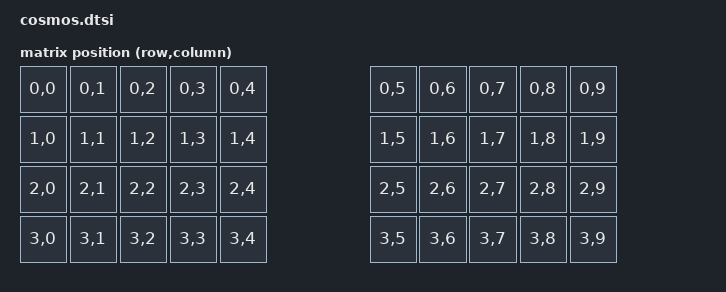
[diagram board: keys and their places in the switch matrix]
/*
    @bravekarma suggests putting *split* input device & input listener nodes here.

    The input listener that is used by the central side is added here but disabled by default.
    This is so that keymaps (which are included for both central and peripheral builds) can reference the listener to add input processors without failing with an undefined reference error.
    About input split device: https://zmk.dev/docs/development/hardware-integration/pointing#shared-configuration-1
*/

#include <dt-bindings/zmk/matrix_transform.h>

/ {
    chosen {
        zmk,physical-layout = &physical_layout0;
    };

    default_transform: keymap_transform_0 {
        compatible = "zmk,matrix-transform";
        columns = <10>;
        rows = <4>;

        map = <
        RC(0,0) RC(0,1) RC(0,2) RC(0,3) RC(0,4)                    RC(0,5) RC(0,6) RC(0,7) RC(0,8) RC(0,9)
        RC(1,0) RC(1,1) RC(1,2) RC(1,3) RC(1,4)                    RC(1,5) RC(1,6) RC(1,7) RC(1,8) RC(1,9)
        RC(2,0) RC(2,1) RC(2,2) RC(2,3) RC(2,4)                    RC(2,5) RC(2,6) RC(2,7) RC(2,8) RC(2,9)
                RC(3,0) RC(3,1) RC(3,2) RC(3,3) RC(3,4)    RC(3,5) RC(3,6) RC(3,7) RC(3,8) RC(3,9)
        >;
    };

    split_inputs { // split input devices
        #address-cells = <1>;
        #size-cells = <0>;

        trackball_split_input: trackball_split_input@0 { // trackball's split input device
            compatible = "zmk,input-split";
            reg = <0>;
        };
    };

    trackball_split_listener: trackball_split_listener { // listener for split input device
        compatible = "zmk,input-listener";
        status = "disabled"; // disable for .keymap to add input processors without undefined reference error
        device = <&trackball_split_input>;ds
    };
};
